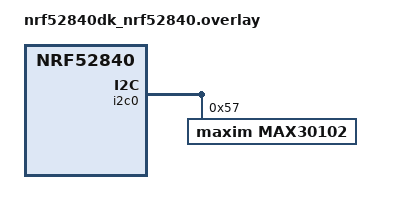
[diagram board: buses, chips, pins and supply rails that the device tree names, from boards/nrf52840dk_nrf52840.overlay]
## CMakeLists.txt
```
# SPDX-License-Identifier: Apache-2.0

# For the sake of demonstration, we add the driver directory as a zephyr module
# by hand. If your driver is a project that's managed by west, you can remove this line.
list(APPEND ZEPHYR_EXTRA_MODULES
  ${CMAKE_CURRENT_SOURCE_DIR}/exDriver
  )

cmake_minimum_required(VERSION 3.20.0)
set (BOARD nrf5340dk_nrf5340_cpuapp)

find_package(Zephyr REQUIRED HINTS $ENV{ZEPHYR_BASE})
project(max30102DeviceDriver)

target_sources(app PRIVATE
  src/main.c
  )
```

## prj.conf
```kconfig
# Enable console and printk()
CONFIG_STDOUT_CONSOLE=y

# Enable module for this project
CONFIG_I2C=y
CONFIG_I2C_NRFX=y

# enable to úe thread names
CONFIG_THREAD_NAME=y
CONFIG_SCHED_CPU_MASK=y
CONFIG_THREAD_ANALYZER=n

# RTT
CONFIG_USE_SEGGER_RTT=y
CONFIG_LOG_MODE_IMMEDIATE=y
CONFIG_SEGGER_SYSTEMVIEW=n
CONFIG_TRACING=n

# logging
CONFIG_LOG=y
CONFIG_RTT_CONSOLE=y
CONFIG_LOG_BACKEND_RTT=y
CONFIG_LOG_PRINTK=y
CONFIG_CBPRINTF_FP_SUPPORT=y

# Configuration the module required for this project.
CONFIG_SERIAL=y
CONFIG_SENSOR=y
CONFIG_MAX30102=y
CONFIG_BUILD_WITH_TFM=n
```

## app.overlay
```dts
/ {
   chosen {
      // zephyr,console = &zephyr_udc0;
   };
};
```

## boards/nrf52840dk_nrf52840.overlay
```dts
/*
 * Copyright (c) 2022 Nordic Semiconductor ASA
 * SPDX-License-Identifier: Apache-2.0
 */

&i2c0 {
   max30102@57 {
      compatible = "maxim,max30102";
      reg = <0x57>;
      status = "okay";
      label = "MAX30102";
   };
};
```

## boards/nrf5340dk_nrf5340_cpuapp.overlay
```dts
/*
 * Copyright (c) 2022 Nordic Semiconductor ASA
 * SPDX-License-Identifier: Apache-2.0
 */
&i2c1 {
   status = "okay";
   clock-frequency = <I2C_BITRATE_FAST>;
   pinctrl-0 = <&max30102_i2c_default>;
   max30102_sensor: max30102@57 {
      status = "okay";
      compatible = "maxim,max30102";
      reg = <0x57>;
      label = "MAX30102";
      int-gpios = <&gpio0 27 (GPIO_ACTIVE_LOW)>;
   };
};

&pinctrl {
   max30102_i2c_default: max30102_i2c {
      group1 {
         psels =  <NRF_PSEL(TWIM_SDA, 1, 2)>,
                  <NRF_PSEL(TWIM_SCL, 1, 3)>;
         bias-pull-up;
      };
   };
};
```

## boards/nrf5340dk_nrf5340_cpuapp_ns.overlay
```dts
/*
 * Copyright (c) 2022 Nordic Semiconductor ASA
 * SPDX-License-Identifier: Apache-2.0
 */

&i2c1 {
   status = "okay";

   max30102@57 {
      compatible = "maxim,max30102";
      reg = <0x57>;
      status = "okay";
      label = "MAX30102";
   };
};
```

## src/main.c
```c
/*
 * Copyright (c) 2017, NXP
 *
 * SPDX-License-Identifier: Apache-2.0
 */

#include <zephyr/kernel.h>
#include <zephyr/drivers/sensor.h>
#include <zephyr/sys/printk.h>
#include <zephyr/usb/usb_device.h>
#include <zephyr/drivers/uart.h>
#include <stdio.h>

const struct device *const dev = DEVICE_DT_GET(DT_NODELABEL(max30102_sensor));
const struct device *const console = DEVICE_DT_GET(DT_CHOSEN(zephyr_console));

void main(void)
{
   struct sensor_value irValue;
   struct sensor_value redValue;
   struct sensor_value temp;
   float temp_real = 0.0f;

   if (dev == NULL)
   {
      printf("Could not get max30102 device\n");
      return;
   }

   if (!device_is_ready(dev))
   {
      printf("max30102 device %s is not ready\n", dev->name);
      return;
   }

   while (1)
   {
      // sensor_channel_get (dev, SENSOR_CHAN_DIE_TEMP, &temp);
      // temp_real = (float)((uint32_t)temp.val1) + ((float)((uint32_t)temp.val2) * 0.0625f);
      // printk ("Temporature = %f\n", temp_real);

      k_sleep(K_SECONDS(1U));
   }
}
```
